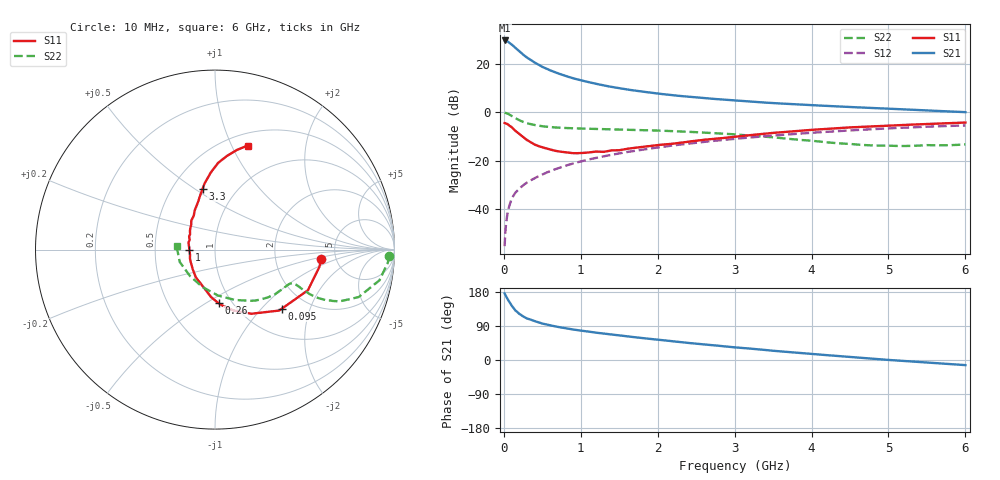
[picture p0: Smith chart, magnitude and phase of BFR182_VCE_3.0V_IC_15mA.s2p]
! Infineon Technologies  Discrete & RF Semiconductors
! BFR182
! VCE =  3.0 V,  IC =  15 mA
! Common Emitter S-Parameters:  Nov 2015
# GHz  S  MA  R  50
!  f  S11  S21  S12  S22
! GHz  MAG  ANG  MAG  ANG  MAG  ANG  MAG  ANG
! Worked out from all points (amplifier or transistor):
!   210 points, 10 MHz to 6 GHz, reference 50 ohm
!   highest |S21| = 29.6 dB at 10 MHz (marker M1)
!   |S21| within 3 dB of that: start of sweep to 148.6 MHz
!   unconditionally stable (mu >= 1): 640.8 MHz to 2.542 GHz
!   at 185 MHz: K = 0.63, MSG = 28.8 dB, |S12| = -32.1 dB
!   at 1.52 GHz: K = 1.05, MAG = 12.1 dB, |S12| = -16.9 dB
!   at 6 GHz: K = 0.89, MSG = 2.7 dB, |S12| = -5.5 dB
!   S11 on the Smith chart (normalised r, x): 10 MHz: 3.84, -0.59; 95 MHz: 1.51, -1.31; 260 MHz: 0.87, -0.57; 1 GHz: 0.75, -0.00; 3.3 GHz: 0.70, +0.54; 6 GHz: 0.63, +1.16
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0.01  0.5947 -4.8  30.19 175.7  0.0017 90.8  0.9727 -2.0
0.02  0.5895 -9.4  30.07 171.4  0.0034 82.5  0.9653 -4.4
0.05  0.5651 -23.6  28.83 160.0  0.0085 78.5  0.9319 -10.6
0.095  0.4974 -41.3  25.43 145.6  0.0151 74.1  0.8509 -17.5
0.1  0.4932 -43.5  25.17 143.8  0.0158 73.8  0.8427 -18.3
0.15  0.4112 -60.4  21.28 130.6  0.0217 70.2  0.7497 -22.7
0.2  0.3545 -73.1  18.05 121.9  0.0261 69.2  0.6789 -24.5
0.26  0.2993 -86.2  15 114.0  0.0315 68.5  0.6198 -25.2
0.3  0.2654 -94.7  13.41 109.6  0.035 69.3  0.5877 -25.2
0.4  0.2139 -109.2  10.56 102.3  0.043 70.0  0.5387 -24.5
0.5  0.1876 -124.7  8.607 96.1  0.0515 71.1  0.5091 -23.8
0.7  0.1553 -148.4  6.344 87.3  0.0688 71.5  0.4777 -23.5
0.8  0.1485 -160.3  5.584 83.7  0.0777 71.1  0.4696 -23.6
1  0.1427 -179.5  4.535 77.6  0.0952 71.1  0.4571 -24.7
1.02  0.1432 178.8  4.46 77.1  0.0971 71.0  0.4562 -24.9
1.4  0.1619 153.0  3.313 67.2  0.131 69.2  0.4409 -28.6
2.02  0.21 128.4  2.396 53.2  0.1878 64.3  0.415 -37.1
3.1  0.3219 104.2  1.691 31.8  0.2896 53.7  0.3366 -57.6
3.3  0.3465 101.5  1.61 28.3  0.3084 51.5  0.3177 -62.8
4.1  0.4397 92.1  1.367 14.3  0.3828 42.4  0.2463 -90.2
5.1  0.5343 81.6  1.159 -1.1  0.4692 30.0  0.2001 -139.2
6  0.6081 72.5  0.998 -13.5  0.53 17.6  0.2149 175.0
